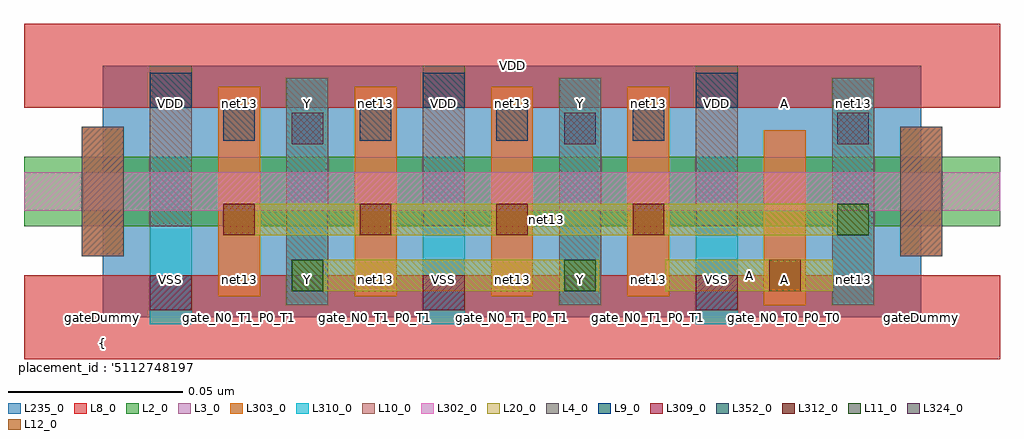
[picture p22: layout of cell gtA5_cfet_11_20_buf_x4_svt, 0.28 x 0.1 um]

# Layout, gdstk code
import gdstk
lib = gdstk.Library(unit=1e-6, precision=2.5e-10)
def R(c, l, rs):  # rectangles x0, y0, x1, y1
    for r in rs: c.add(gdstk.rectangle(r[:2], r[2:], *l))
def A(c, l, x, y, w, h, nx, ny, dx, dy):  # array of equal rectangles
    R(c, l, [(x+i*dx, y+j*dy, x+i*dx+w, y+j*dy+h) for i in range(nx) for j in range(ny)])
L2_0 = (2, 0)
L3_0 = (3, 0)
L4_0 = (4, 0)
L8_0 = (8, 0)
L9_0 = (9, 0)
L10_0 = (10, 0)
L11_0 = (11, 0)
L12_0 = (12, 0)
L20_0 = (20, 0)
L235_0 = (235, 0)
L302_0 = (302, 0)
L303_0 = (303, 0)
L309_0 = (309, 0)
L310_0 = (310, 0)
L312_0 = (312, 0)
L324_0 = (324, 0)
L352_0 = (352, 0)

gta5_cfet_11_20_buf_x4_s = lib.new_cell('gtA5_cfet_11_20_buf_x4_svt')
R(gta5_cfet_11_20_buf_x4_s, L2_0, [(-0.0225,0.026,0.2565,0.046)])
A(gta5_cfet_11_20_buf_x4_s, L3_0, 0.033, 0.006, 0.012, 0.06, 4, 1, 0.039, 0)
R(gta5_cfet_11_20_buf_x4_s, L3_0, [(0.189,0.0035,0.201,0.0535), (-0.006,0.0175,0.006,0.0545), (0.228,0.0175,0.24,0.0545)])
R(gta5_cfet_11_20_buf_x4_s, L4_0, [(-0.006,0.0175,0.006,0.0545), (0.228,0.0175,0.24,0.0545)])
R(gta5_cfet_11_20_buf_x4_s, L8_0, [(-0.0225,-0.012,0.2565,0.012), (-0.0225,0.06,0.2565,0.084)])
A(gta5_cfet_11_20_buf_x4_s, L9_0, 0.0135, 0.06, 0.012, 0.01, 3, 1, 0.078, 0)
A(gta5_cfet_11_20_buf_x4_s, L10_0, 0.0525, 0.0035, 0.012, 0.065, 3, 1, 0.078, 0)
A(gta5_cfet_11_20_buf_x4_s, L10_0, 0.0135, 0.026, 0.012, 0.046, 3, 1, 0.078, 0)
R(gta5_cfet_11_20_buf_x4_s, L11_0, [(0.054,0.0075,0.063,0.0165), (0.132,0.0075,0.141,0.0165), (0.21,0.0235,0.219,0.0325)])
R(gta5_cfet_11_20_buf_x4_s, L12_0, [(0.1905,0.0075,0.1995,0.0165)])
R(gta5_cfet_11_20_buf_x4_s, L20_0, [(0.054,0.0075,0.142,0.0165), (0.1608,0.0075,0.2087,0.0165), (0.0345,0.0235,0.219,0.0325)])
R(gta5_cfet_11_20_buf_x4_s, L235_0, [(0,0,0.234,0.072)])
R(gta5_cfet_11_20_buf_x4_s, L302_0, [(-0.0225,0.0305,0.2565,0.0415)])
A(gta5_cfet_11_20_buf_x4_s, L303_0, 0.033, 0.006, 0.012, 0.06, 4, 1, 0.039, 0)
R(gta5_cfet_11_20_buf_x4_s, L303_0, [(0.189,0.0035,0.201,0.0535), (-0.006,0.0175,0.006,0.0545), (0.228,0.0175,0.24,0.0545)])
A(gta5_cfet_11_20_buf_x4_s, L309_0, 0.0135, 0.002, 0.012, 0.01, 3, 1, 0.078, 0)
A(gta5_cfet_11_20_buf_x4_s, L310_0, 0.0135, -0.002, 0.012, 0.048, 3, 1, 0.078, 0)
A(gta5_cfet_11_20_buf_x4_s, L310_0, 0.0525, 0.0035, 0.012, 0.065, 3, 1, 0.078, 0)
A(gta5_cfet_11_20_buf_x4_s, L312_0, 0.0345, 0.0235, 0.009, 0.009, 4, 1, 0.039, 0)
A(gta5_cfet_11_20_buf_x4_s, L324_0, 0.054, 0.0495, 0.009, 0.009, 3, 1, 0.078, 0)
A(gta5_cfet_11_20_buf_x4_s, L352_0, 0.0345, 0.0505, 0.009, 0.009, 4, 1, 0.039, 0)
gta5_cfet_11_20_buf_x4_s.add(gdstk.Label('net13', (0.1268,0.028), layer=100, texttype=100))
gta5_cfet_11_20_buf_x4_s.add(gdstk.Label('gateDummy', (0,0), layer=103, texttype=103))
gta5_cfet_11_20_buf_x4_s.add(gdstk.Label('sd_N0_VSS_P0_VDD', (0.0195,0), layer=103, texttype=103))
gta5_cfet_11_20_buf_x4_s.add(gdstk.Label('gate_N0_T1_P0_T1', (0.039,0), layer=103, texttype=103))
gta5_cfet_11_20_buf_x4_s.add(gdstk.Label('sd_N0_T0_P0_T0', (0.0585,0), layer=103, texttype=103))
gta5_cfet_11_20_buf_x4_s.add(gdstk.Label('gate_N0_T1_P0_T1', (0.078,0), layer=103, texttype=103))
gta5_cfet_11_20_buf_x4_s.add(gdstk.Label('sd_N0_VSS_P0_VDD', (0.0975,0), layer=103, texttype=103))
gta5_cfet_11_20_buf_x4_s.add(gdstk.Label('gate_N0_T1_P0_T1', (0.117,0), layer=103, texttype=103))
gta5_cfet_11_20_buf_x4_s.add(gdstk.Label('sd_N0_T0_P0_T0', (0.1365,0), layer=103, texttype=103))
gta5_cfet_11_20_buf_x4_s.add(gdstk.Label('gate_N0_T1_P0_T1', (0.156,0), layer=103, texttype=103))
gta5_cfet_11_20_buf_x4_s.add(gdstk.Label('sd_N0_VSS_P0_VDD', (0.1755,0), layer=103, texttype=103))
gta5_cfet_11_20_buf_x4_s.add(gdstk.Label('gate_N0_T0_P0_T0', (0.195,0), layer=103, texttype=103))
gta5_cfet_11_20_buf_x4_s.add(gdstk.Label('sd_N0_T1_P0_T1', (0.2145,0), layer=103, texttype=103))
gta5_cfet_11_20_buf_x4_s.add(gdstk.Label('gateDummy', (0.234,0), layer=103, texttype=103))
gta5_cfet_11_20_buf_x4_s.add(gdstk.Label('}', (0,-0.0785), layer=104, texttype=104))
gta5_cfet_11_20_buf_x4_s.add(gdstk.Label('  power : None', (0,-0.0713), layer=104, texttype=104))
gta5_cfet_11_20_buf_x4_s.add(gdstk.Label('  performance : None', (0,-0.0643), layer=104, texttype=104))
gta5_cfet_11_20_buf_x4_s.add(gdstk.Label("  solution_hash : '600640578393023521'", (0,-0.057), layer=104, texttype=104))
gta5_cfet_11_20_buf_x4_s.add(gdstk.Label('  number_m2 : 0', (0,-0.05), layer=104, texttype=104))
gta5_cfet_11_20_buf_x4_s.add(gdstk.Label('  number_m1 : 0', (0,-0.0428), layer=104, texttype=104))
gta5_cfet_11_20_buf_x4_s.add(gdstk.Label('  number_m0cuts : 0', (0,-0.0358), layer=104, texttype=104))
gta5_cfet_11_20_buf_x4_s.add(gdstk.Label('  number_m0 : 3', (0,-0.0285), layer=104, texttype=104))
gta5_cfet_11_20_buf_x4_s.add(gdstk.Label("  solution_number : '0000'", (0,-0.0215), layer=104, texttype=104))
gta5_cfet_11_20_buf_x4_s.add(gdstk.Label("  placement_id : '5112748197126580834'", (0,-0.0143), layer=104, texttype=104))
gta5_cfet_11_20_buf_x4_s.add(gdstk.Label('{', (0,-0.0073), layer=104, texttype=104))
gta5_cfet_11_20_buf_x4_s.add(gdstk.Label('VSS', (0.0195,0.0108), layer=105, texttype=105))
gta5_cfet_11_20_buf_x4_s.add(gdstk.Label('net13', (0.039,0.0108), layer=105, texttype=105))
gta5_cfet_11_20_buf_x4_s.add(gdstk.Label('Y', (0.0585,0.0108), layer=105, texttype=105))
gta5_cfet_11_20_buf_x4_s.add(gdstk.Label('net13', (0.078,0.0108), layer=105, texttype=105))
gta5_cfet_11_20_buf_x4_s.add(gdstk.Label('VSS', (0.0975,0.0108), layer=105, texttype=105))
gta5_cfet_11_20_buf_x4_s.add(gdstk.Label('net13', (0.117,0.0108), layer=105, texttype=105))
gta5_cfet_11_20_buf_x4_s.add(gdstk.Label('Y', (0.1365,0.0108), layer=105, texttype=105))
gta5_cfet_11_20_buf_x4_s.add(gdstk.Label('net13', (0.156,0.0108), layer=105, texttype=105))
gta5_cfet_11_20_buf_x4_s.add(gdstk.Label('VSS', (0.1755,0.0108), layer=105, texttype=105))
gta5_cfet_11_20_buf_x4_s.add(gdstk.Label('A', (0.195,0.0108), layer=105, texttype=105))
gta5_cfet_11_20_buf_x4_s.add(gdstk.Label('net13', (0.2145,0.0108), layer=105, texttype=105))
gta5_cfet_11_20_buf_x4_s.add(gdstk.Label('VDD', (0.0195,0.0612), layer=105, texttype=105))
gta5_cfet_11_20_buf_x4_s.add(gdstk.Label('net13', (0.039,0.0612), layer=105, texttype=105))
gta5_cfet_11_20_buf_x4_s.add(gdstk.Label('Y', (0.0585,0.0612), layer=105, texttype=105))
gta5_cfet_11_20_buf_x4_s.add(gdstk.Label('net13', (0.078,0.0612), layer=105, texttype=105))
gta5_cfet_11_20_buf_x4_s.add(gdstk.Label('VDD', (0.0975,0.0612), layer=105, texttype=105))
gta5_cfet_11_20_buf_x4_s.add(gdstk.Label('net13', (0.117,0.0612), layer=105, texttype=105))
gta5_cfet_11_20_buf_x4_s.add(gdstk.Label('Y', (0.1365,0.0612), layer=105, texttype=105))
gta5_cfet_11_20_buf_x4_s.add(gdstk.Label('net13', (0.156,0.0612), layer=105, texttype=105))
gta5_cfet_11_20_buf_x4_s.add(gdstk.Label('VDD', (0.1755,0.0612), layer=105, texttype=105))
gta5_cfet_11_20_buf_x4_s.add(gdstk.Label('A', (0.195,0.0612), layer=105, texttype=105))
gta5_cfet_11_20_buf_x4_s.add(gdstk.Label('net13', (0.2145,0.0612), layer=105, texttype=105))
gta5_cfet_11_20_buf_x4_s.add(gdstk.Label('VSS', (0.117,0), layer=8, texttype=0))
gta5_cfet_11_20_buf_x4_s.add(gdstk.Label('VDD', (0.117,0.072), layer=8, texttype=0))
gta5_cfet_11_20_buf_x4_s.add(gdstk.Label('Y', (0.098,0.012), layer=20, texttype=251))
gta5_cfet_11_20_buf_x4_s.add(gdstk.Label('A', (0.1847,0.012), layer=20, texttype=251))
gta5_cfet_11_20_buf_x4_s.add(gdstk.Label('gtA5_cfet_11_20_buf_x4_rvt_0', (0,0), layer=235, texttype=0))

lib.write_gds('gtA5_cfet_11_20_buf_x4_svt.gds')
